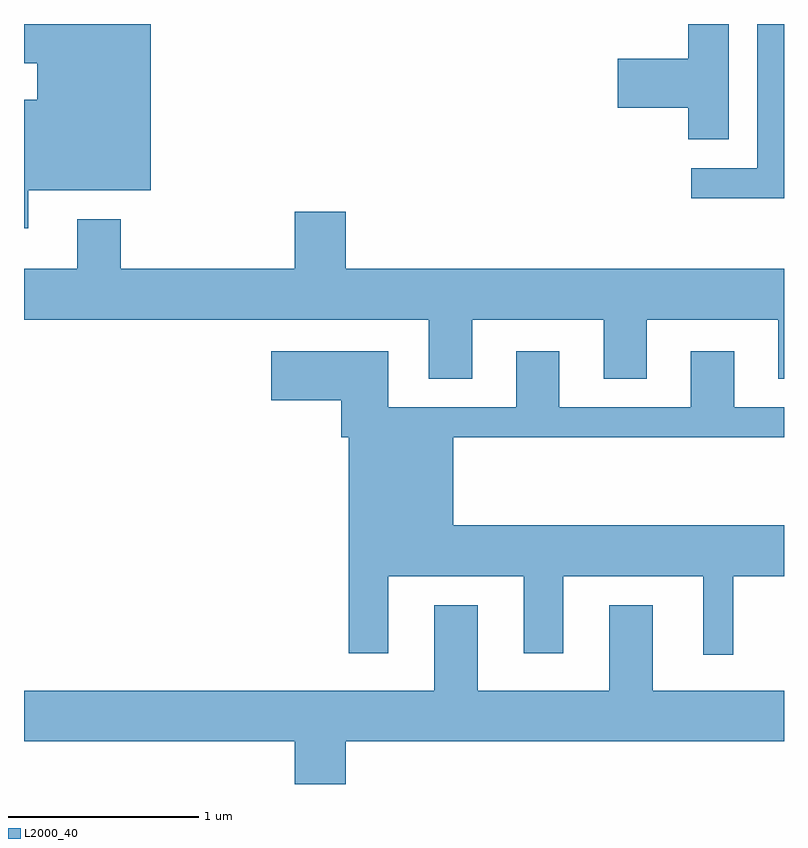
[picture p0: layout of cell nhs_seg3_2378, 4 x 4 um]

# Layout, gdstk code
import gdstk
lib = gdstk.Library(unit=1e-6, precision=1e-09)
def P(c, l, *ps):  # polygons
    for p in ps: c.add(gdstk.Polygon(p, *l))
L2000_40 = (2000, 40)

nhs_seg3_2378 = lib.new_cell('nhs_seg3_2378')
P(nhs_seg3_2378, L2000_40, [(253.634,1251.016),(254.279,1251.016),(254.279,1251.892),(253.611,1251.892),(253.611,1251.686),(253.681,1251.686),(253.681,1251.494),(253.611,1251.494),(253.611,1250.816),(253.634,1250.816)],
  [(257.319,1251.892),(257.106,1251.892),(257.106,1251.709),(256.736,1251.709),(256.736,1251.451),(257.106,1251.451),(257.106,1251.286),(257.319,1251.286)],
  [(257.611,1251.892),(257.471,1251.892),(257.471,1251.134),(257.123,1251.134),(257.123,1250.976),(257.611,1250.976)],
  [(255.969,1250.336),(256.661,1250.336),(256.661,1250.026),(256.889,1250.026),(256.889,1250.336),(257.581,1250.336),(257.581,1250.026),(257.611,1250.026),(257.611,1250.604),(255.304,1250.604),(255.304,1250.904),(255.036,1250.904),(255.036,1250.604),(254.119,1250.604),(254.119,1250.864),(253.891,1250.864),(253.891,1250.604),(253.611,1250.604),(253.611,1250.336),(255.741,1250.336),(255.741,1250.026),(255.969,1250.026)],
  [(257.344,1248.986),(257.611,1248.986),(257.611,1249.254),(255.869,1249.254),(255.869,1249.716),(257.611,1249.716),(257.611,1249.874),(257.349,1249.874),(257.349,1250.169),(257.121,1250.169),(257.121,1249.874),(256.429,1249.874),(256.429,1250.169),(256.201,1250.169),(256.201,1249.874),(255.529,1249.874),(255.529,1250.169),(254.911,1250.169),(254.911,1249.911),(255.281,1249.911),(255.281,1249.716),(255.321,1249.716),(255.321,1248.581),(255.529,1248.581),(255.529,1248.986),(256.241,1248.986),(256.241,1248.581),(256.449,1248.581),(256.449,1248.986),(257.186,1248.986),(257.186,1248.573),(257.344,1248.573)],
  [(255.304,1248.116),(257.611,1248.116),(257.611,1248.384),(256.919,1248.384),(256.919,1248.834),(256.691,1248.834),(256.691,1248.384),(255.999,1248.384),(255.999,1248.834),(255.771,1248.834),(255.771,1248.384),(253.611,1248.384),(253.611,1248.116),(255.036,1248.116),(255.036,1247.892),(255.304,1247.892)])

lib.write_gds('nhs_seg3_2378.gds')
